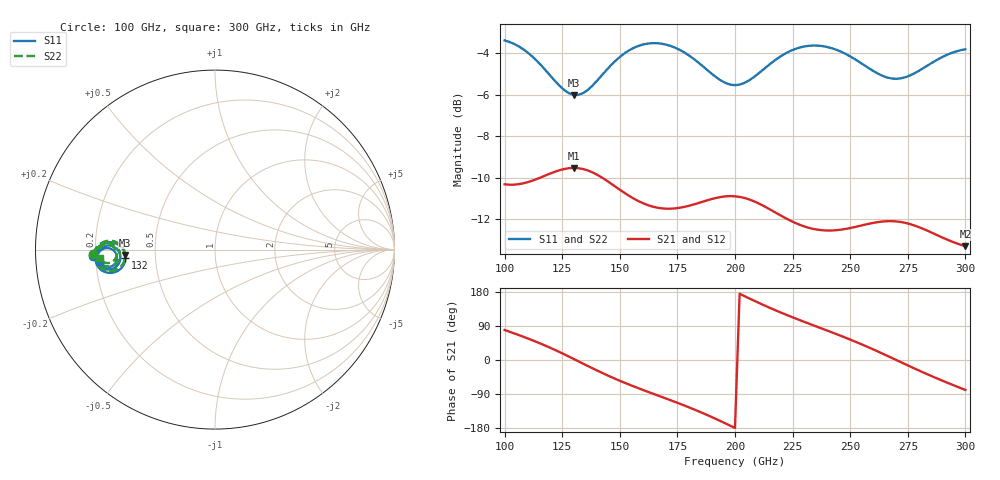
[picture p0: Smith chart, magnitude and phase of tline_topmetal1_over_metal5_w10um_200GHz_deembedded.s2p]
! Created with skrf 2.0.1 (http://scikit-rf.org).
# GHz S DB R 50.0
!freq dBS11 angS11 dBS21 angS21 dBS12 angS12 dBS22 angS22
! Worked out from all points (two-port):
!   101 points, 100 GHz to 300 GHz, reference 50 ohm
!   highest |S21| = -9.53 dB at 130 GHz (marker M1); lowest = -13.3 dB at 300 GHz (marker M2)
!   |S21| within 3 dB of the highest: start of sweep to 237.1 GHz; 244.5 GHz to 282.9 GHz (38.33 GHz wide, 14.5 % of centre)
!   lowest |S11| = -6.0 dB at 130 GHz (marker M3), VSWR 3.01, Z = 16.6 - j1.31 ohm
!   |S11| at or under -10 dB: nowhere
!   |S22| runs from -6.0 to -3.4 dB; largest |S21 - S12| = 4.1e-14
!   S11 on the Smith chart (normalised r, x): 100 GHz: 0.19, -0.02; 132 GHz: 0.33, -0.04; 300 GHz: 0.22, -0.05
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100  -3.37 -177.2  -10.32 79.3  -10.32 79.3  -3.37 -177.9
116  -4.59 176.0  -9.97 42.3  -9.97 42.3  -4.59 175.2
124  -5.58 178.1  -9.63 20.5  -9.63 20.5  -5.57 177.2
130  -6.00 -176.6  -9.53 2.7  -9.53 2.7  -5.99 -177.6
132  -6.00 -174.5  -9.54 -3.3  -9.54 -3.3  -5.99 -175.5
134  -5.92 -172.5  -9.58 -9.4  -9.58 -9.4  -5.91 -173.5
142  -5.08 -167.6  -9.98 -33.1  -9.98 -33.1  -5.08 -168.6
150  -4.17 -168.1  -10.58 -54.8  -10.58 -54.8  -4.17 -169.3
160  -3.57 -172.6  -11.23 -78.9  -11.23 -78.9  -3.57 -173.8
168  -3.53 -176.7  -11.48 -97.0  -11.48 -97.0  -3.53 -178.0
184  -4.43 177.8  -11.23 -134.9  -11.23 -134.9  -4.43 176.5
192  -5.17 179.2  -10.97 -156.3  -10.97 -156.3  -5.16 177.8
200  -5.53 -175.7  -10.90 -179.4  -10.90 -179.4  -5.52 -177.2
208  -5.16 -170.6  -11.13 157.4  -11.13 157.4  -5.15 -172.2
216  -4.44 -169.3  -11.58 135.3  -11.58 135.3  -4.44 -171.0
224  -3.88 -171.1  -12.07 115.1  -12.07 115.1  -3.88 -172.8
234  -3.62 -175.1  -12.47 91.5  -12.47 91.5  -3.62 -176.9
252  -4.28 179.3  -12.38 48.9  -12.38 48.9  -4.28 177.4
268  -5.21 -176.6  -12.10 5.7  -12.10 5.7  -5.21 -178.7
276  -5.06 -172.5  -12.24 -17.0  -12.24 -17.0  -5.06 -174.6
284  -4.55 -170.6  -12.58 -39.0  -12.58 -39.0  -4.56 -172.8
300  -3.80 -173.7  -13.31 -79.0  -13.31 -79.0  -3.81 -176.0
